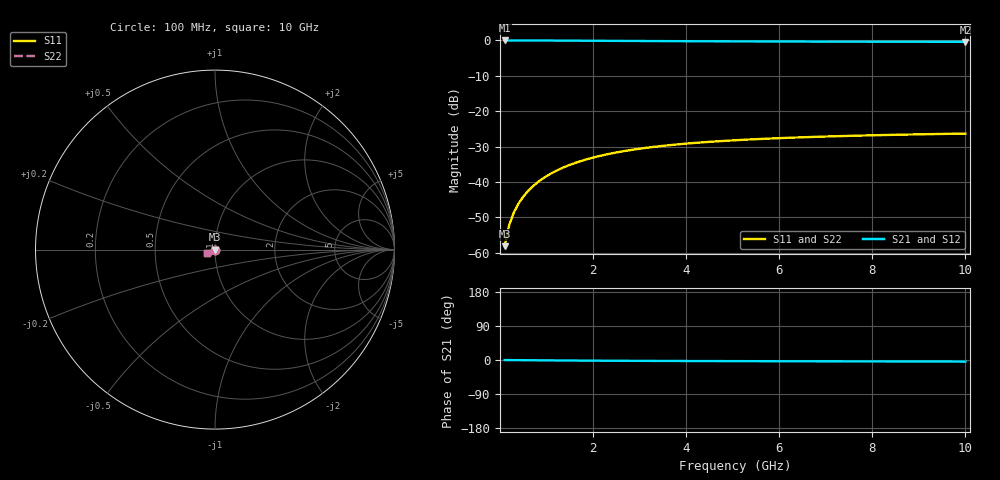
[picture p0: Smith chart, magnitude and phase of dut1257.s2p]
! Touchstone file exported from HFSS 2024.1.0
!  File:  C:/UserFiles/LocalFiles/RDL_TSV_Batchsim/temp_TSV1_1257_1780253117.aedt
!  Generated:  02:49:41 AM Jun  1, 2026
!  Design:  TSV1
!  Project:  temp_TSV1_1257_1780253117
!  Setup:  Setup1
!  Solution:  Sweep
! Variables:
!  dtsv = 12.37um
!  hbump = 3um
!  htsv = 62.76um
!  lrdl = 252.1521522um
!  p = 40
!  p1 = 41.41um
!  t = 500um
!  trdl = 3um
!  wrdl = 24.89489489um
# GHz S MA R 50.000000
! Terminal data exported
! Port[1] = TSV22_T1
! Port[2] = TSV22_T2
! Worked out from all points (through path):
!   100 points, 100 MHz to 10 GHz, reference 50 ohm
!   highest |S21| = 0.00 dB at 100 MHz (marker M1); lowest = -0.4 dB at 10 GHz (marker M2)
!   lowest |S11| = -58.1 dB at 100 MHz (marker M3), VSWR 1.00, Z = 50 - j0.124 ohm
!   |S11| at or under -10 dB: start of sweep to end of sweep
!   |S22| runs from -58.1 to -26.3 dB; largest |S21 - S12| = 4.4e-15
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0.1  0.001244 -87.6  0.9999 -0.1  0.9999 -0.1  0.001244 -87.6
! Gamma 0 0 0 0
! Port Impedance 50 0 50 0
0.2  0.002489 -90.7  0.9998 -0.2  0.9998 -0.2  0.002489 -90.7
0.3  0.003736 -92.8  0.9996 -0.3  0.9996 -0.3  0.003736 -92.8
0.4  0.004978 -94.6  0.9994 -0.4  0.9994 -0.4  0.004978 -94.6
0.5  0.006209 -96.2  0.9991 -0.5  0.9991 -0.5  0.006209 -96.2
0.6  0.007427 -97.8  0.9987 -0.6  0.9987 -0.6  0.007427 -97.8
0.7  0.00863 -99.3  0.9983 -0.7  0.9983 -0.7  0.00863 -99.3
0.8  0.009815 -100.8  0.9979 -0.8  0.9979 -0.8  0.009815 -100.8
0.9  0.01098 -102.3  0.9974 -0.9  0.9974 -0.9  0.01098 -102.3
1.1  0.01324 -105.1  0.9963 -1.1  0.9963 -1.1  0.01324 -105.1
1.4  0.01646 -109.1  0.9943 -1.3  0.9943 -1.3  0.01646 -109.1
1.6  0.01847 -111.6  0.9929 -1.5  0.9929 -1.5  0.01847 -111.6
1.8  0.02037 -114.0  0.9914 -1.6  0.9914 -1.6  0.02037 -114.0
2.1  0.02302 -117.4  0.9892 -1.8  0.9892 -1.8  0.02302 -117.4
2.5  0.02618 -121.5  0.9862 -2.0  0.9862 -2.0  0.02618 -121.5
2.9  0.02894 -125.1  0.9832 -2.2  0.9832 -2.2  0.02894 -125.1
3.4  0.03192 -129.2  0.9798 -2.5  0.9798 -2.5  0.03192 -129.2
4.2  0.03577 -134.7  0.9748 -2.7  0.9748 -2.7  0.03577 -134.7
5.1  0.03911 -139.6  0.9702 -3.0  0.9702 -3.0  0.03911 -139.6
6.7  0.04334 -146.2  0.9639 -3.4  0.9639 -3.4  0.04335 -146.2
8.4  0.04638 -151.4  0.9592 -3.8  0.9592 -3.8  0.04638 -151.4
10  0.0484 -155.1  0.956 -4.2  0.956 -4.2  0.0484 -155.1
